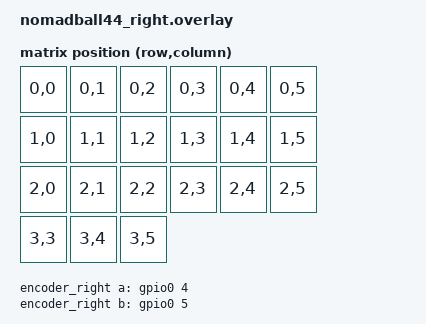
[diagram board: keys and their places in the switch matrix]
/*
 * NomadBall44 Right - Central (21 keys + encoder + trackball)
 * Matrix: 4 rows x 6 cols, col2row
 * Encoder: EC12 at SW21 position, RE_A=D4, RE_B=D5
 * Trackball: PMW3610 on SPI1, D0-D3
 */

#include "../nomadball44.dtsi"
#include <zephyr/dt-bindings/input/input-event-codes.h>

&pinctrl {
	spi1_default: spi1_default {
		group1 {
			psels = <NRF_PSEL(SPIM_SCK, 0, 3)>,
				<NRF_PSEL(SPIM_MOSI, 0, 2)>,
				<NRF_PSEL(SPIM_MISO, 0, 2)>;
		};
	};

	spi1_sleep: spi1_sleep {
		group1 {
			psels = <NRF_PSEL(SPIM_SCK, 0, 3)>,
				<NRF_PSEL(SPIM_MOSI, 0, 2)>,
				<NRF_PSEL(SPIM_MISO, 0, 2)>;
			low-power-enable;
		};
	};
};

&spi1 {
	status = "okay";
	compatible = "nordic,nrf-spim";
	pinctrl-0 = <&spi1_default>;
	pinctrl-1 = <&spi1_sleep>;
	pinctrl-names = "default", "sleep";
	cs-gpios = <&gpio0 28 GPIO_ACTIVE_LOW>;

	trackball: trackball@0 {
		status = "okay";
		compatible = "pixart,pmw3610-alt";
		reg = <0>;
		spi-max-frequency = <2000000>;
		irq-gpios = <&gpio0 29 (GPIO_ACTIVE_LOW | GPIO_PULL_UP)>;
		cpi = <600>;
		evt-type = <INPUT_EV_REL>;
		x-input-code = <INPUT_REL_X>;
		y-input-code = <INPUT_REL_Y>;
		force-awake;
		force-awake-4ms-mode;
	};
};

/ {
	chosen {
		zmk,kscan = &kscan;
		zmk,matrix_transform = &default_transform;
	};

	default_transform: keymap_transform_0 {
		compatible = "zmk,matrix-transform";
		columns = <6>;
		rows = <4>;
		/* Right 21 keys: 6+6+6+3 (SW21=encoder button in matrix) */
		map = <
			RC(0,0) RC(0,1) RC(0,2) RC(0,3) RC(0,4) RC(0,5)
			RC(1,0) RC(1,1) RC(1,2) RC(1,3) RC(1,4) RC(1,5)
			RC(2,0) RC(2,1) RC(2,2) RC(2,3) RC(2,4) RC(2,5)
			RC(3,3) RC(3,4) RC(3,5)
		>;
	};

	encoder_right: encoder_right {
		compatible = "alps,ec11";
		a-gpios = <&gpio0 4 (GPIO_ACTIVE_HIGH | GPIO_PULL_UP)>;
		b-gpios = <&gpio0 5 (GPIO_ACTIVE_HIGH | GPIO_PULL_UP)>;
		steps = <24>;
		status = "okay";
	};

	sensors {
		compatible = "zmk,keymap-sensors";
		sensors = <&encoder_right>;
		triggers-per-rotation = <24>;
	};

	trackball_listener {
		compatible = "zmk,input-listener";
		device = <&trackball>;
	};
};
